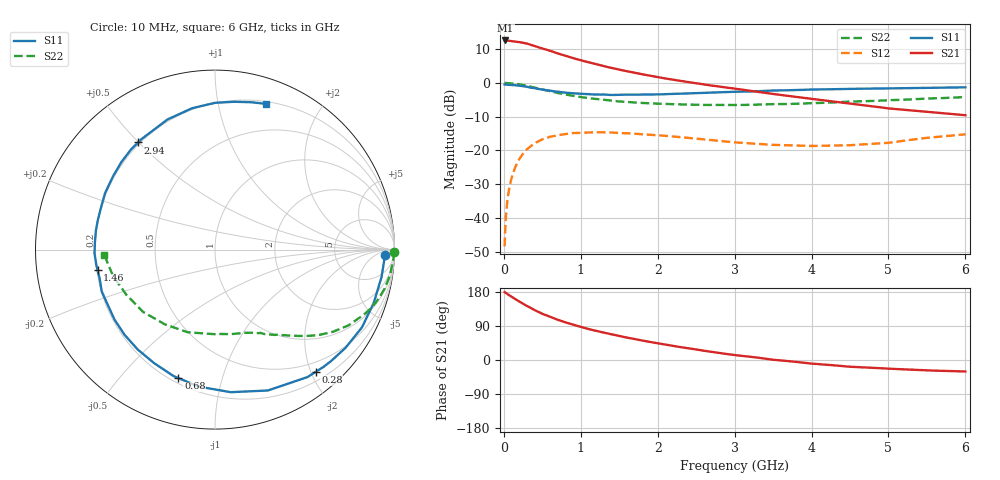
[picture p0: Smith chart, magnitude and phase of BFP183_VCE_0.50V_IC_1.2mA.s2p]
! Infineon Technologies  Discrete & RF Semiconductors
! BFP183
! VCE = 0.50V,  IC =  1.2 mA
! Common Emitter S-Parameters:  Jan 2016
# GHz  S  MA  R  50
!  f  S11  S21  S12  S22
! GHz  MAG  ANG  MAG  ANG  MAG  ANG  MAG  ANG
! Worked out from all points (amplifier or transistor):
!   210 points, 10 MHz to 6 GHz, reference 50 ohm
!   highest |S21| = 12.6 dB at 20 MHz (marker M1)
!   |S21| within 3 dB of that: start of sweep to 594.9 MHz
!   unconditionally stable (mu >= 1): 2.182 GHz to end of sweep
!   at 185 MHz: K = 0.09, MSG = 17.7 dB, |S12| = -23.2 dB
!   at 1.52 GHz: K = 0.69, MSG = 9.4 dB, |S12| = -14.9 dB
!   at 6 GHz: K = 1.37, MAG = -0.8 dB, |S12| = -15.2 dB
!   S11 on the Smith chart (normalised r, x): 10 MHz: 29, -16; 280 MHz: 0.34, -2.07; 680 MHz: 0.23, -0.73; 1.46 GHz: 0.20, -0.08; 2.94 GHz: 0.19, +0.50; 6 GHz: 0.22, +1.39
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0.01  0.9481 -1.7  4.255 179.1  0.0038 86.8  0.998 -0.8
0.02  0.9444 -3.9  4.261 178.0  0.0076 85.2  0.9986 -1.7
0.035  0.9413 -6.6  4.249 175.8  0.0136 85.6  0.9953 -2.9
0.05  0.9403 -9.4  4.243 173.5  0.0196 85.7  0.9925 -4.2
0.1  0.933 -18.6  4.176 167.1  0.0385 78.2  0.9849 -8.5
0.2  0.9102 -36.9  4.042 154.3  0.074 67.9  0.9532 -16.5
0.28  0.8823 -50.6  3.87 145.0  0.0979 59.6  0.915 -22.3
0.4  0.8386 -69.4  3.535 131.6  0.1276 48.9  0.8551 -29.6
0.52  0.7899 -86.2  3.19 120.4  0.1481 39.8  0.7915 -35.6
0.6  0.7687 -96.8  3.006 113.7  0.1589 34.5  0.7527 -39.1
0.68  0.7444 -105.9  2.788 107.8  0.1662 29.8  0.7183 -41.9
0.8  0.7177 -118.2  2.532 99.3  0.1747 23.7  0.6735 -45.6
1.02  0.689 -138.5  2.137 86.2  0.183 14.4  0.613 -51.0
1.2  0.6722 -152.8  1.89 77.0  0.1858 7.8  0.5781 -55.3
1.46  0.6641 -170.0  1.611 65.0  0.1821 1.1  0.5374 -60.4
2.02  0.6763 160.3  1.209 43.4  0.1671 -8.6  0.491 -71.0
2.56  0.7104 138.3  0.964 25.8  0.1466 -13.8  0.4727 -83.7
2.94  0.7348 125.7  0.84 14.7  0.1336 -14.5  0.4704 -93.3
3.1  0.7422 121.0  0.793 10.9  0.1292 -13.9  0.4713 -97.7
4.1  0.8003 97.3  0.563 -11.0  0.1167 -2.7  0.5042 -127.0
5.1  0.8327 81.3  0.41 -23.8  0.1342 9.0  0.5583 -155.4
6  0.8606 70.6  0.332 -30.3  0.1729 8.1  0.618 -177.3
